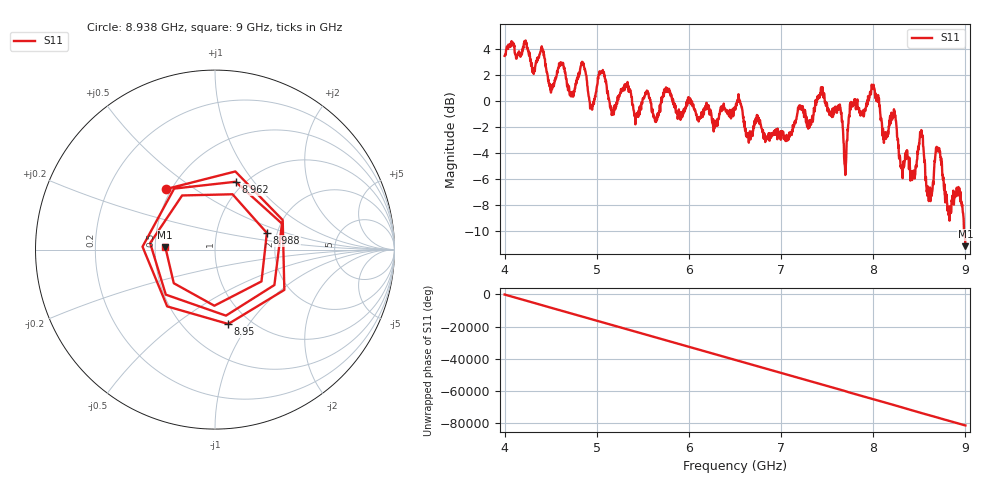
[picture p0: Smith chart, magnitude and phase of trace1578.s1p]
! Created with skrf 1.8.0 (http://scikit-rf.org).
# Hz S RI R 50.0
!freq ReS11 ImS11
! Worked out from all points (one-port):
!   1601 points, 4 GHz to 9 GHz, reference 50 ohm
!   lowest |S11| = -11.1 dB at 9 GHz (marker M1), VSWR 1.77, Z = 28.3 + j0.89 ohm
!   |S11| at or under -10 dB: 8.985419 GHz to end of sweep
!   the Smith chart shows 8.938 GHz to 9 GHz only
!   S11 on the Smith chart (normalised r, x): 8.938 GHz: 0.47, +0.39; 8.95 GHz: 0.80, -0.81; 8.962 GHz: 0.91, +0.82; 8.988 GHz: 1.77, +0.36; 9 GHz: 0.57, +0.02
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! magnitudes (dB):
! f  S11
! 4 GHz  3.4
! 4.509 GHz  0.9
! 4.625 GHz  2.9
! 4.731 GHz  0.4
! 4.853 GHz  2.9
! 4.944 GHz  -0.4
! 5.053 GHz  2.2
! 5.162 GHz  -1.1
! 5.25 GHz  0.5
! 5.875 GHz  -0.9
! 6.5 GHz  -0.6
! 7.125 GHz  -2.4
! 7.444 GHz  0.7
! 7.641 GHz  -0.5
! 7.7 GHz  -5.3
! 7.75 GHz  -0.2
! 8.003 GHz  1.2
! 8.375 GHz  -4.4
! 8.434 GHz  -5.6
! 8.522 GHz  -2.2
! 8.619 GHz  -7.4
! 8.703 GHz  -3.6
! 8.822 GHz  -8.6
! 8.938 GHz  -7.3
! 8.95 GHz  -7.5
! 8.962 GHz  -8.1
! 8.988 GHz  -10.4
! 9 GHz  -11.1
